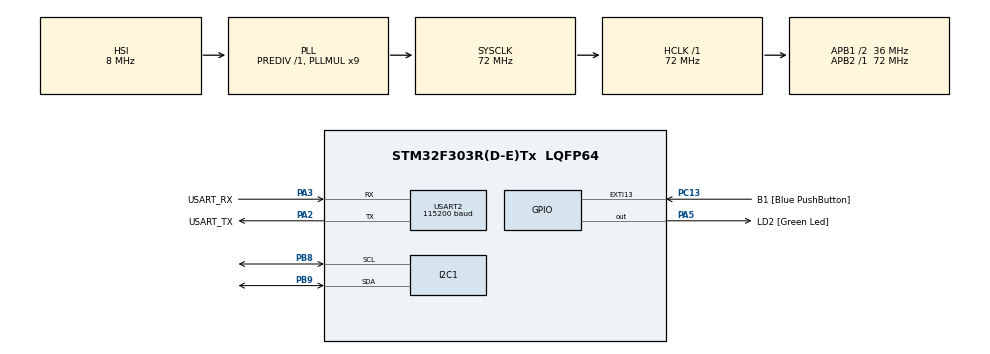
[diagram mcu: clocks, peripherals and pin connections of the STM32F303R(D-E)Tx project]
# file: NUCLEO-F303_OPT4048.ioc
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I2C1.Timing=0x00201D2B
Mcu.Family=STM32F3
Mcu.Name=STM32F303R(D-E)Tx
Mcu.Package=LQFP64
NVIC.PriorityGroup=NVIC_PRIORITYGROUP_0
PA13.GPIO_Label=TMS
PA13.Mode=Serial_Wire
PA13.Signal=SYS_JTMS-SWDIO
PA14.GPIO_Label=TCK
PA14.Mode=Serial_Wire
PA14.Signal=SYS_JTCK-SWCLK
PA2.GPIO_Label=USART_TX
PA2.GPIO_Mode=GPIO_MODE_AF_PP
PA2.GPIO_PuPd=GPIO_NOPULL
PA2.GPIO_Speed=GPIO_SPEED_FREQ_LOW
PA2.Mode=Asynchronous
PA2.Signal=USART2_TX
PA3.GPIO_Label=USART_RX
PA3.GPIO_Mode=GPIO_MODE_AF_PP
PA3.GPIO_PuPd=GPIO_NOPULL
PA3.GPIO_Speed=GPIO_SPEED_FREQ_LOW
PA3.Mode=Asynchronous
PA3.Signal=USART2_RX
PA5.GPIO_Label=LD2 [Green Led]
PA5.GPIO_Mode=GPIO_MODE_OUTPUT_PP
PA5.GPIO_PuPd=GPIO_NOPULL
PA5.GPIO_Speed=GPIO_SPEED_FREQ_LOW
PA5.Signal=GPIO_Output
PB3.GPIO_Label=SWO
PB3.Signal=SYS_JTDO-TRACESWO
PB8.Mode=I2C
PB8.Signal=I2C1_SCL
PB9.Mode=I2C
PB9.Signal=I2C1_SDA
PC13.GPIO_Label=B1 [Blue PushButton]
PC13.GPIO_ModeDefaultEXTI=GPIO_MODE_IT_FALLING
PC13.Signal=GPXTI13
PC14-OSC32_IN.Mode=LSE-External-Oscillator
PC14-OSC32_IN.Signal=RCC_OSC32_IN
PC15-OSC32_OUT.Mode=LSE-External-Oscillator
PC15-OSC32_OUT.Signal=RCC_OSC32_OUT
PF0-OSC_IN.Mode=HSE-External-Clock-Source
PF0-OSC_IN.Signal=RCC_OSC_IN
PF1-OSC_OUT.Signal=RCC_OSC_OUT
ProjectManager.HeapSize=0x200
ProjectManager.StackSize=0x400
ProjectManager.TargetToolchain=CMake
RCC.AHBFreq_Value=72000000
RCC.APB1CLKDivider=RCC_HCLK_DIV2
RCC.APB1Freq_Value=36000000
RCC.APB1TimFreq_Value=72000000
RCC.APB2Freq_Value=72000000
RCC.APB2TimFreq_Value=72000000
RCC.CortexFreq_Value=72000000
RCC.HCLKFreq_Value=72000000
RCC.HSE_VALUE=8000000
RCC.HSI_VALUE=8000000
RCC.PLLM=8
RCC.PLLMUL=RCC_PLL_MUL9
RCC.PLLN=336
RCC.PLLP=RCC_PLLP_DIV4
RCC.PLLQ=7
RCC.RCC_PLLsource_Clock_Source_FROM_HSE=RCC_HSE_PREDIV_DIV2
RCC.SYSCLKFreq_VALUE=72000000
RCC.SYSCLKSourceVirtual=RCC_SYSCLKSOURCE_PLLCLK
RCC.USBFreq_Value=72000000
USART2.BaudRate=115200
USART2.VirtualMode-Asynchronous=VM_ASYNC
board=NUCLEO-F303RE

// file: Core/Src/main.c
/* USER CODE BEGIN Header */
/**
  ******************************************************************************
  * @file           : main.c
  * @brief          : Main program body
  ******************************************************************************
  * @attention
  *
  * Copyright (c) 2026 STMicroelectronics.
  * All rights reserved.
  *
  * This software is licensed under terms that can be found in the LICENSE file
  * in the root directory of this software component.
  * If no LICENSE file comes with this software, it is provided AS-IS.
  *
  ******************************************************************************
  */
/* USER CODE END Header */
#include "main.h"
#include "stm32f3xx_hal.h"

/* USER CODE BEGIN Includes */
#include <OPT4048.h>
#include <stdio.h>
#include <string.h>
/* USER CODE END Includes */

/* USER CODE BEGIN PTD */
OPT4048_HandleTypeDef opt4048;
/* USER CODE END PTD */

I2C_HandleTypeDef hi2c1;

UART_HandleTypeDef huart2;

/* USER CODE BEGIN PV */
uint16_t rawRegiters[8] = {0};
char msg[64];
char result[64];
/* USER CODE END PV */

void SystemClock_Config(void);
static void MX_GPIO_Init(void);
static void MX_I2C1_Init(void);
static void MX_USART2_UART_Init(void);

int main(void)
{

  /* MCU Configuration--------------------------------------------------------*/

  /* Reset of all peripherals, Initializes the Flash interface and the Systick. */
  HAL_Init();

  /* Configure the system clock */
  SystemClock_Config();

  /* Initialize all configured peripherals */
  MX_GPIO_Init();
  MX_I2C1_Init();
  MX_USART2_UART_Init();
  /* USER CODE BEGIN 2 */
	OPT4048_Init(&opt4048, &hi2c1, OPT4048_ADDRESS);
	HAL_Delay(20);
  /* USER CODE END 2 */

  /* Infinite loop */
  /* USER CODE BEGIN WHILE */
  while (1)
  {
		if (OPT4048_ReadADCRawValues(&opt4048, rawRegiters) == HAL_OK)
		{
			if (OPT4048_GetXYZAndLux(&opt4048) == HAL_OK)
			{
				double x = opt4048.cieX;
				double y = opt4048.cieY;
				//double z = opt4048.cieZ;
				double lux = opt4048.lux;

				uint8_t R = opt4048.RGB_R;
				uint8_t G = opt4048.RGB_G;
				uint8_t B = opt4048.RGB_B;

				snprintf(result, sizeof(result), "Lux: %.2f | CIE(x,y): (%.4f, %.4f)\r\n", lux, x, y);
				HAL_UART_Transmit(&huart2, (uint8_t *)result, strlen(result), HAL_MAX_DELAY);

				//snprintf(result, sizeof(result), "RGB: (%d, %d, %d)\r\n", R, G, B);
				//HAL_UART_Transmit(&huart2, (uint8_t *)result, strlen(result), HAL_MAX_DELAY);
			}
			else
			{
				//snprintf(msg, sizeof(msg), "Error. System cannot retrieve x, y and z values\r\n");
				//HAL_UART_Transmit(&huart2, (uint8_t *)msg, strlen(msg), HAL_MAX_DELAY);
			}
		}
		else
		{
			//snprintf(msg, sizeof(msg), "Error. System cannot read OPT4048_ReadADCRawValues function.\r\n");
			//HAL_UART_Transmit(&huart2, (uint8_t *)msg, strlen(msg), HAL_MAX_DELAY);

		}
		//HAL_Delay(100);
    /* USER CODE END WHILE */

  }
}

void SystemClock_Config(void)
{
  RCC_OscInitTypeDef RCC_OscInitStruct = {0};
  RCC_ClkInitTypeDef RCC_ClkInitStruct = {0};
  RCC_PeriphCLKInitTypeDef PeriphClkInit = {0};

  /** Initializes the RCC Oscillators according to the specified parameters
  * in the RCC_OscInitTypeDef structure.
  */
  RCC_OscInitStruct.OscillatorType = RCC_OSCILLATORTYPE_HSI;
  RCC_OscInitStruct.HSIState = RCC_HSI_ON;
  RCC_OscInitStruct.HSICalibrationValue = RCC_HSICALIBRATION_DEFAULT;
  RCC_OscInitStruct.PLL.PLLState = RCC_PLL_ON;
  RCC_OscInitStruct.PLL.PLLSource = RCC_PLLSOURCE_HSI;
  RCC_OscInitStruct.PLL.PLLMUL = RCC_PLL_MUL9;
  RCC_OscInitStruct.PLL.PREDIV = RCC_PREDIV_DIV1;
  if (HAL_RCC_OscConfig(&RCC_OscInitStruct) != HAL_OK)
  {
    Error_Handler();
  }

  /** Initializes the CPU, AHB and APB buses clocks
  */
  RCC_ClkInitStruct.ClockType = RCC_CLOCKTYPE_HCLK|RCC_CLOCKTYPE_SYSCLK
                              |RCC_CLOCKTYPE_PCLK1|RCC_CLOCKTYPE_PCLK2;
  RCC_ClkInitStruct.SYSCLKSource = RCC_SYSCLKSOURCE_PLLCLK;
  RCC_ClkInitStruct.AHBCLKDivider = RCC_SYSCLK_DIV1;
  RCC_ClkInitStruct.APB1CLKDivider = RCC_HCLK_DIV2;
  RCC_ClkInitStruct.APB2CLKDivider = RCC_HCLK_DIV1;

  if (HAL_RCC_ClockConfig(&RCC_ClkInitStruct, FLASH_LATENCY_2) != HAL_OK)
  {
    Error_Handler();
  }
  PeriphClkInit.PeriphClockSelection = RCC_PERIPHCLK_USART2|RCC_PERIPHCLK_I2C1;
  PeriphClkInit.Usart2ClockSelection = RCC_USART2CLKSOURCE_PCLK1;
  PeriphClkInit.I2c1ClockSelection = RCC_I2C1CLKSOURCE_HSI;
  if (HAL_RCCEx_PeriphCLKConfig(&PeriphClkInit) != HAL_OK)
  {
    Error_Handler();
  }
}

static void MX_I2C1_Init(void)
{

  hi2c1.Instance = I2C1;
  hi2c1.Init.Timing = 0x00201D2B;
  hi2c1.Init.OwnAddress1 = 0;
  hi2c1.Init.AddressingMode = I2C_ADDRESSINGMODE_7BIT;
  hi2c1.Init.DualAddressMode = I2C_DUALADDRESS_DISABLE;
  hi2c1.Init.OwnAddress2 = 0;
  hi2c1.Init.OwnAddress2Masks = I2C_OA2_NOMASK;
  hi2c1.Init.GeneralCallMode = I2C_GENERALCALL_DISABLE;
  hi2c1.Init.NoStretchMode = I2C_NOSTRETCH_DISABLE;
  if (HAL_I2C_Init(&hi2c1) != HAL_OK)
  {
    Error_Handler();
  }

  /** Configure Analogue filter
  */
  if (HAL_I2CEx_ConfigAnalogFilter(&hi2c1, I2C_ANALOGFILTER_ENABLE) != HAL_OK)
  {
    Error_Handler();
  }

  /** Configure Digital filter
  */
  if (HAL_I2CEx_ConfigDigitalFilter(&hi2c1, 0) != HAL_OK)
  {
    Error_Handler();
  }

}

static void MX_USART2_UART_Init(void)
{

  huart2.Instance = USART2;
  huart2.Init.BaudRate = 115200;
  huart2.Init.WordLength = UART_WORDLENGTH_8B;
  huart2.Init.StopBits = UART_STOPBITS_1;
  huart2.Init.Parity = UART_PARITY_NONE;
  huart2.Init.Mode = UART_MODE_TX_RX;
  huart2.Init.HwFlowCtl = UART_HWCONTROL_NONE;
  huart2.Init.OverSampling = UART_OVERSAMPLING_16;
  huart2.Init.OneBitSampling = UART_ONE_BIT_SAMPLE_DISABLE;
  huart2.AdvancedInit.AdvFeatureInit = UART_ADVFEATURE_NO_INIT;
  if (HAL_UART_Init(&huart2) != HAL_OK)
  {
    Error_Handler();
  }

}

static void MX_GPIO_Init(void)
{
  GPIO_InitTypeDef GPIO_InitStruct = {0};

  /* GPIO Ports Clock Enable */
  __HAL_RCC_GPIOC_CLK_ENABLE();
  __HAL_RCC_GPIOF_CLK_ENABLE();
  __HAL_RCC_GPIOA_CLK_ENABLE();
  __HAL_RCC_GPIOB_CLK_ENABLE();

  /*Configure GPIO pin Output Level */
  HAL_GPIO_WritePin(LD2_GPIO_Port, LD2_Pin, GPIO_PIN_RESET);

  /*Configure GPIO pin : B1_Pin */
  GPIO_InitStruct.Pin = B1_Pin;
  GPIO_InitStruct.Mode = GPIO_MODE_IT_FALLING;
  GPIO_InitStruct.Pull = GPIO_NOPULL;
  HAL_GPIO_Init(B1_GPIO_Port, &GPIO_InitStruct);

  /*Configure GPIO pin : LD2_Pin */
  GPIO_InitStruct.Pin = LD2_Pin;
  GPIO_InitStruct.Mode = GPIO_MODE_OUTPUT_PP;
  GPIO_InitStruct.Pull = GPIO_NOPULL;
  GPIO_InitStruct.Speed = GPIO_SPEED_FREQ_LOW;
  HAL_GPIO_Init(LD2_GPIO_Port, &GPIO_InitStruct);

}

void Error_Handler(void)
{
  __disable_irq();
  while (1)
  {
  }
}
